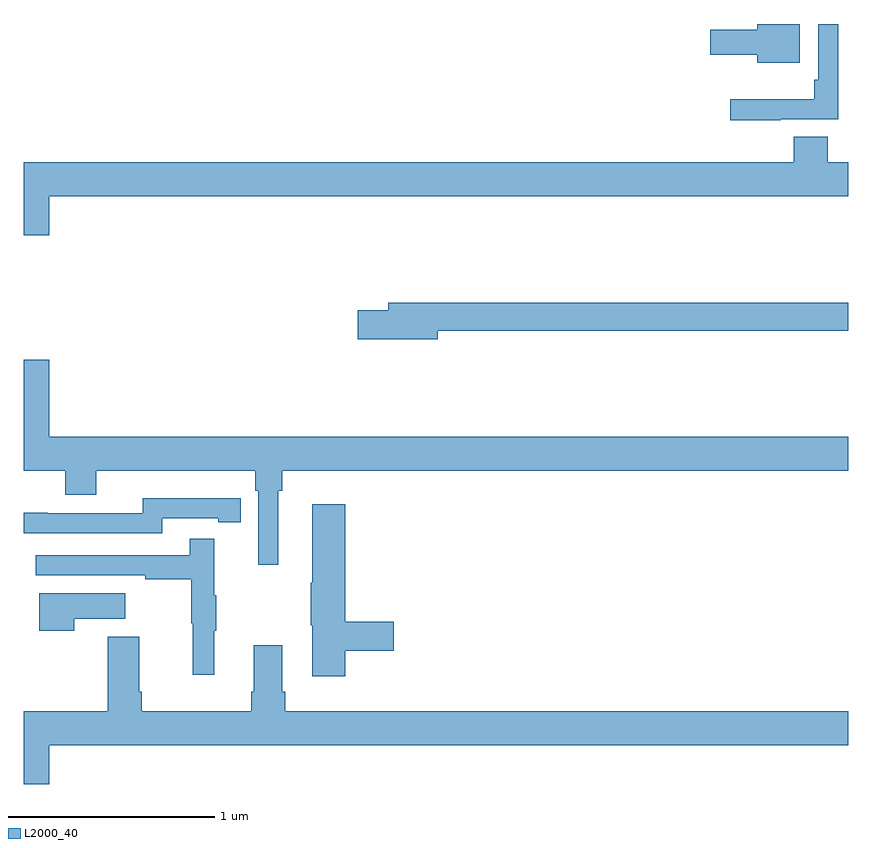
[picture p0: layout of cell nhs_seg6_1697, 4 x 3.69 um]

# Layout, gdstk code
import gdstk
lib = gdstk.Library(unit=1e-6, precision=1e-09)
def P(c, l, *ps):  # polygons
    for p in ps: c.add(gdstk.Polygon(p, *l))
L2000_40 = (2000, 40)

nhs_seg6_1697 = lib.new_cell('nhs_seg6_1697')
P(nhs_seg6_1697, L2000_40, [(216.673,953.037),(216.951,953.037),(216.951,953.5),(216.855,953.5),(216.855,953.23),(216.835,953.23),(216.835,953.134),(216.429,953.134),(216.429,953.033),(216.673,953.033)],
  [(216.766,953.5),(216.56,953.5),(216.56,953.473),(216.33,953.473),(216.33,953.351),(216.56,953.351),(216.56,953.312),(216.766,953.312)],
  [(213.124,952.664),(217,952.664),(217,952.828),(216.902,952.828),(216.902,952.952),(216.737,952.952),(216.737,952.828),(213,952.828),(213,952.476),(213.124,952.476)],
  [(215.008,952.012),(217,952.012),(217,952.148),(214.769,952.148),(214.769,952.112),(214.62,952.112),(214.62,951.97),(215.008,951.97)],
  [(214.234,951.236),(214.253,951.236),(214.253,951.332),(217,951.332),(217,951.496),(213.124,951.496),(213.124,951.871),(213,951.871),(213,951.332),(213.2,951.332),(213.2,951.215),(213.352,951.215),(213.352,951.332),(214.124,951.332),(214.124,951.236),(214.137,951.236),(214.137,950.877),(214.234,950.877)],
  [(213.672,951.102),(213.944,951.102),(213.944,951.082),(214.052,951.082),(214.052,951.198),(213.944,951.198),(213.944,951.199),(213.576,951.199),(213.576,951.126),(213.116,951.126),(213.116,951.128),(213,951.128),(213,951.03),(213.672,951.03)],
  [(214.559,950.458),(214.795,950.458),(214.795,950.6),(214.559,950.6),(214.559,951.169),(214.4,951.169),(214.4,950.789),(214.393,950.789),(214.393,950.583),(214.4,950.583),(214.4,950.334),(214.559,950.334)],
  [(213.923,950.555),(213.934,950.555),(213.934,950.729),(213.923,950.729),(213.923,951.001),(213.805,951.001),(213.805,950.922),(213.057,950.922),(213.057,950.826),(213.589,950.826),(213.589,950.806),(213.813,950.806),(213.813,950.592),(213.82,950.592),(213.82,950.343),(213.923,950.343)],
  [(213.245,950.615),(213.493,950.615),(213.493,950.737),(213.074,950.737),(213.074,950.556),(213.245,950.556)],
  [(213.124,950),(217,950),(217,950.164),(214.268,950.164),(214.268,950.26),(214.255,950.26),(214.255,950.485),(214.115,950.485),(214.115,950.26),(214.103,950.26),(214.103,950.164),(213.572,950.164),(213.572,950.26),(213.559,950.26),(213.559,950.527),(213.407,950.527),(213.407,950.164),(213,950.164),(213,949.812),(213.124,949.812)])

lib.write_gds('nhs_seg6_1697.gds')
